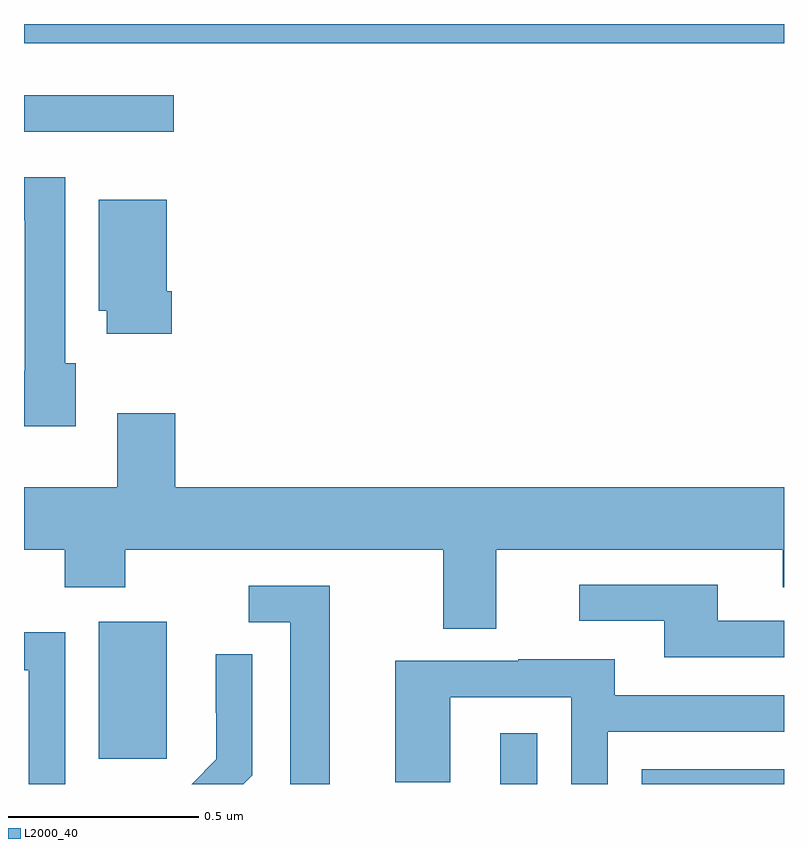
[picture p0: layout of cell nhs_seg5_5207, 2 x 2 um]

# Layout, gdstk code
import gdstk
lib = gdstk.Library(unit=1e-6, precision=1e-09)
def R(c, l, rs):  # rectangles x0, y0, x1, y1
    for r in rs: c.add(gdstk.rectangle(r[:2], r[2:], *l))
def P(c, l, *ps):  # polygons
    for p in ps: c.add(gdstk.Polygon(p, *l))
L2000_40 = (2000, 40)

nhs_seg5_5207 = lib.new_cell('nhs_seg5_5207')
R(nhs_seg5_5207, L2000_40, [(181.253,866.799,181.35,866.932), (181.626,866.799,182,866.838), (180.197,866.865,180.376,867.226), (180,868.515,180.394,868.612), (180,868.748,182,868.799)])
P(nhs_seg5_5207, L2000_40, [(180.136,867.906),(180.109,867.906),(180.109,868.396),(180,868.396),(180,868.283),(180.002,868.283),(180.002,867.886),(180,867.886),(180,867.74),(180.136,867.74)],
  [(180.389,868.096),(180.376,868.096),(180.376,868.336),(180.197,868.336),(180.197,868.044),(180.218,868.044),(180.218,867.984),(180.389,867.984)],
  [(181.243,867.416),(181.997,867.416),(181.997,867.317),(182,867.317),(182,867.58),(180.398,867.58),(180.398,867.775),(180.245,867.775),(180.245,867.58),(180,867.58),(180,867.416),(180.107,867.416),(180.107,867.317),(180.267,867.317),(180.267,867.416),(181.103,867.416),(181.103,867.208),(181.243,867.208)],
  [(182,867.228),(181.825,867.228),(181.825,867.324),(181.461,867.324),(181.461,867.228),(181.685,867.228),(181.685,867.132),(182,867.132)],
  [(180.805,867.321),(180.591,867.321),(180.591,867.225),(180.701,867.225),(180.701,866.799),(180.805,866.799)],
  [(180.108,867.198),(180,867.198),(180,867.099),(180.012,867.099),(180.012,866.799),(180.108,866.799)],
  [(180.6,866.822),(180.6,867.14),(180.504,867.14),(180.504,866.986),(180.506,866.986),(180.506,866.864),(180.441,866.799),(180.577,866.799)],
  [(181.536,866.937),(182,866.937),(182,867.033),(181.555,867.033),(181.555,867.127),(181.301,867.127),(181.301,867.123),(180.977,867.123),(180.977,866.803),(181.122,866.803),(181.122,867.027),(181.44,867.027),(181.44,866.799),(181.536,866.799)])

lib.write_gds('nhs_seg5_5207.gds')
